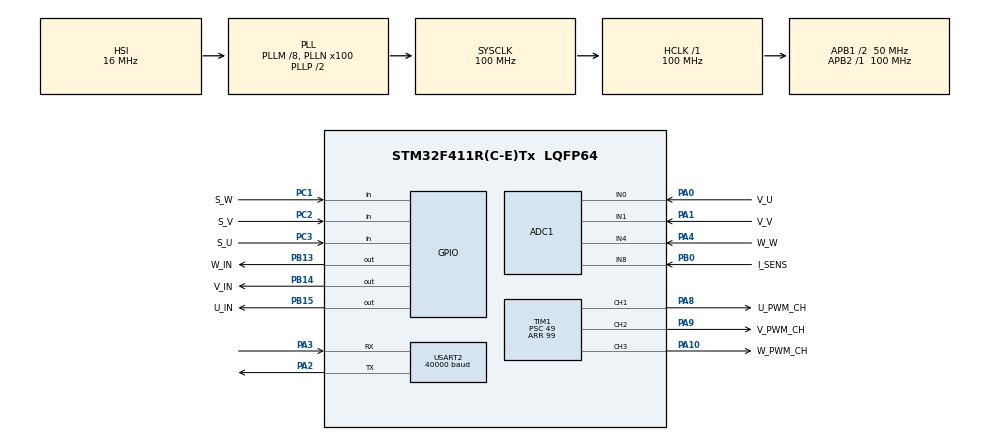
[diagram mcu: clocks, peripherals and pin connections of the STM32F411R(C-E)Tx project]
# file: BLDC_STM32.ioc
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ADC1.Channel-0\#ChannelRegularConversion=ADC_CHANNEL_4
ADC1.Channel-1\#ChannelRegularConversion=ADC_CHANNEL_1
ADC1.Channel-2\#ChannelRegularConversion=ADC_CHANNEL_0
ADC1.Channel-3\#ChannelRegularConversion=ADC_CHANNEL_8
ADC1.ContinuousConvMode=ENABLE
ADC1.DMAContinuousRequests=ENABLE
ADC1.EOCSelection=ADC_EOC_SEQ_CONV
ADC1.NbrOfConversion=4
ADC1.NbrOfConversionFlag=1
ADC1.Rank-0\#ChannelRegularConversion=1
ADC1.Rank-1\#ChannelRegularConversion=2
ADC1.Rank-2\#ChannelRegularConversion=3
ADC1.Rank-3\#ChannelRegularConversion=4
ADC1.SamplingTime-0\#ChannelRegularConversion=ADC_SAMPLETIME_112CYCLES
ADC1.SamplingTime-1\#ChannelRegularConversion=ADC_SAMPLETIME_112CYCLES
ADC1.SamplingTime-2\#ChannelRegularConversion=ADC_SAMPLETIME_112CYCLES
ADC1.SamplingTime-3\#ChannelRegularConversion=ADC_SAMPLETIME_112CYCLES
ADC1.master=1
Dma.ADC1.1.Direction=DMA_PERIPH_TO_MEMORY
Dma.ADC1.1.FIFOMode=DMA_FIFOMODE_DISABLE
Dma.ADC1.1.Instance=DMA2_Stream0
Dma.ADC1.1.MemDataAlignment=DMA_MDATAALIGN_HALFWORD
Dma.ADC1.1.MemInc=DMA_MINC_ENABLE
Dma.ADC1.1.Mode=DMA_CIRCULAR
Dma.ADC1.1.PeriphDataAlignment=DMA_PDATAALIGN_HALFWORD
Dma.ADC1.1.PeriphInc=DMA_PINC_DISABLE
Dma.ADC1.1.Priority=DMA_PRIORITY_LOW
Dma.Request0=USART2_TX
Dma.Request1=ADC1
Dma.USART2_TX.0.Direction=DMA_MEMORY_TO_PERIPH
Dma.USART2_TX.0.FIFOMode=DMA_FIFOMODE_DISABLE
Dma.USART2_TX.0.Instance=DMA1_Stream6
Dma.USART2_TX.0.MemDataAlignment=DMA_MDATAALIGN_BYTE
Dma.USART2_TX.0.MemInc=DMA_MINC_ENABLE
Dma.USART2_TX.0.Mode=DMA_CIRCULAR
Dma.USART2_TX.0.PeriphDataAlignment=DMA_PDATAALIGN_BYTE
Dma.USART2_TX.0.PeriphInc=DMA_PINC_DISABLE
Dma.USART2_TX.0.Priority=DMA_PRIORITY_LOW
Mcu.Family=STM32F4
Mcu.Name=STM32F411R(C-E)Tx
Mcu.Package=LQFP64
NVIC.DMA1_Stream6_IRQn=true\:0\:0\:false\:false\:true\:false\:true\:true
NVIC.DMA2_Stream0_IRQn=true\:1\:0\:true\:false\:true\:false\:true\:true
NVIC.PriorityGroup=NVIC_PRIORITYGROUP_4
NVIC.TIM3_IRQn=true\:0\:0\:false\:false\:true\:true\:true\:true
PA0-WKUP.GPIO_Label=V_U
PA0-WKUP.Signal=ADCx_IN0
PA1.GPIO_Label=V_V
PA1.Signal=ADCx_IN1
PA10.GPIO_Label=W_PWM_CH
PA10.Signal=S_TIM1_CH3
PA13.Mode=JTAG_4_pins
PA13.Signal=SYS_JTMS-SWDIO
PA14.Mode=JTAG_4_pins
PA14.Signal=SYS_JTCK-SWCLK
PA15.Mode=JTAG_4_pins
PA15.Signal=SYS_JTDI
PA2.Mode=Asynchronous
PA2.Signal=USART2_TX
PA3.Mode=Asynchronous
PA3.Signal=USART2_RX
PA4.GPIO_Label=W_W
PA4.Signal=ADCx_IN4
PA8.GPIO_Label=U_PWM_CH
PA8.Signal=S_TIM1_CH1
PA9.GPIO_Label=V_PWM_CH
PA9.Signal=S_TIM1_CH2
PB0.GPIO_Label=I_SENS
PB0.Signal=ADCx_IN8
PB13.GPIO_Label=W_IN
PB13.Signal=GPIO_Output
PB14.GPIO_Label=V_IN
PB14.Signal=GPIO_Output
PB15.GPIO_Label=U_IN
PB15.Signal=GPIO_Output
PB3.Mode=JTAG_4_pins
PB3.Signal=SYS_JTDO-SWO
PC1.GPIO_Label=S_W
PC1.Signal=GPIO_Input
PC2.GPIO_Label=S_V
PC2.Signal=GPIO_Input
PC3.GPIO_Label=S_U
PC3.Signal=GPIO_Input
ProjectManager.HeapSize=0x200
ProjectManager.StackSize=0x400
ProjectManager.TargetToolchain=Makefile
RCC.48MHZClocksFreq_Value=50000000
RCC.AHBFreq_Value=100000000
RCC.APB1CLKDivider=RCC_HCLK_DIV2
RCC.APB1Freq_Value=50000000
RCC.APB1TimFreq_Value=100000000
RCC.APB2Freq_Value=100000000
RCC.APB2TimFreq_Value=100000000
RCC.CortexFreq_Value=100000000
RCC.HCLKFreq_Value=100000000
RCC.HSE_VALUE=25000000
RCC.HSI_VALUE=16000000
RCC.LSE_VALUE=32768
RCC.PLLM=8
RCC.PLLN=100
RCC.SYSCLKFreq_VALUE=100000000
RCC.SYSCLKSource=RCC_SYSCLKSOURCE_PLLCLK
RCC.VCOOutputFreq_Value=200000000
SH.ADCx_IN0.0=ADC1_IN0,IN0
SH.ADCx_IN1.0=ADC1_IN1,IN1
SH.ADCx_IN4.0=ADC1_IN4,IN4
SH.ADCx_IN8.0=ADC1_IN8,IN8
SH.S_TIM1_CH1.0=TIM1_CH1,PWM Generation1 CH1
SH.S_TIM1_CH2.0=TIM1_CH2,PWM Generation2 CH2
SH.S_TIM1_CH3.0=TIM1_CH3,PWM Generation3 CH3
TIM1.Channel-PWM\ Generation1\ CH1=TIM_CHANNEL_1
TIM1.Channel-PWM\ Generation2\ CH2=TIM_CHANNEL_2
TIM1.Channel-PWM\ Generation3\ CH3=TIM_CHANNEL_3
TIM1.CounterMode=TIM_COUNTERMODE_CENTERALIGNED1
TIM1.OCMode_PWM-PWM\ Generation1\ CH1=TIM_OCMODE_PWM1
TIM1.OCMode_PWM-PWM\ Generation2\ CH2=TIM_OCMODE_PWM1
TIM1.OCMode_PWM-PWM\ Generation3\ CH3=TIM_OCMODE_PWM1
TIM1.Period=99
TIM1.Prescaler=49
TIM1.Pulse-PWM\ Generation2\ CH2=0
TIM1.Pulse-PWM\ Generation3\ CH3=0
TIM1.RepetitionCounter=1
TIM3.Period=99
TIM3.Prescaler=99
USART2.BaudRate=40000
USART2.Mode=MODE_TX_RX
USART2.VirtualMode=VM_ASYNC
VP_TIM3_VS_ClockSourceINT.Mode=Internal
board=custom

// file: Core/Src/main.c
/* USER CODE BEGIN Header */
/**
  ******************************************************************************
  * @file           : main.c
  * @brief          : Main program body
  ******************************************************************************
  * @attention
  *
  * Copyright (c) 2024 STMicroelectronics.
  * All rights reserved.
  *
  * This software is licensed under terms that can be found in the LICENSE file
  * in the root directory of this software component.
  * If no LICENSE file comes with this software, it is provided AS-IS.
  *
  ******************************************************************************
  */
/* USER CODE END Header */
#include "main.h"

ADC_HandleTypeDef hadc1;
DMA_HandleTypeDef hdma_adc1;

TIM_HandleTypeDef htim1;
TIM_HandleTypeDef htim3;

UART_HandleTypeDef huart2;
DMA_HandleTypeDef hdma_usart2_tx;

/* USER CODE BEGIN PV */
char str[100];
/* USER CODE END PV */

void SystemClock_Config(void);
static void MX_GPIO_Init(void);
static void MX_DMA_Init(void);
static void MX_TIM1_Init(void);
static void MX_USART2_UART_Init(void);
static void MX_ADC1_Init(void);
static void MX_TIM3_Init(void);

/* USER CODE BEGIN 0 */
#define DWT_CONTROL *(volatile unsigned long *)0xE0001000
#define SCB_DEMCR   *(volatile unsigned long *)0xE000EDFC

void DWT_Init(void)
{
    SCB_DEMCR |= CoreDebug_DEMCR_TRCENA_Msk; // разрешаем использовать счётчик
    DWT_CONTROL |= DWT_CTRL_CYCCNTENA_Msk;   // запускаем счётчик
}

/* USER CODE END 0 */

int main(void)
{

  /* MCU Configuration--------------------------------------------------------*/

  /* Reset of all peripherals, Initializes the Flash interface and the Systick. */
  HAL_Init();

  /* Configure the system clock */
  SystemClock_Config();

  /* Initialize all configured peripherals */
  MX_GPIO_Init();
  MX_DMA_Init();
  MX_TIM1_Init();
  MX_USART2_UART_Init();
  MX_ADC1_Init();
  MX_TIM3_Init();
  /* USER CODE BEGIN 2 */
  DWT_Init();
  RetargetInit(&huart2);
  bldc_init();

  HAL_TIM_PWM_Start_IT(&htim1, TIM_CHANNEL_1);
  HAL_TIM_PWM_Start_IT(&htim1, TIM_CHANNEL_2);
  HAL_TIM_PWM_Start_IT(&htim1, TIM_CHANNEL_3);

  // initial start of bldc on low speed
  //bldc_blind_start();
  HAL_TIM_Base_Start_IT(&htim3);
  // enable update interrupts to detect point of changing bldc commutation step
  //sprintf(str, "Count: %d, PWM: %d\r\n", __HAL_TIM_GET_COUNTER(&htim1), HAL_GPIO_ReadPin(GPIOA, GPIO_PIN_8));
  // make UEV occurs only on over

  //__HAL_TIM_ENABLE_IT(&htim1, TIM_IT_UPDATE);

  /* USER CODE END 2 */

  /* Infinite loop */
  /* USER CODE BEGIN WHILE */
  while (1)
  {
    //parse_adc_data();
    //HAL_Delay(10);
    /* USER CODE END WHILE */

  }
}

void SystemClock_Config(void)
{
  RCC_OscInitTypeDef RCC_OscInitStruct = {0};
  RCC_ClkInitTypeDef RCC_ClkInitStruct = {0};

  /** Configure the main internal regulator output voltage
  */
  __HAL_RCC_PWR_CLK_ENABLE();
  __HAL_PWR_VOLTAGESCALING_CONFIG(PWR_REGULATOR_VOLTAGE_SCALE1);

  /** Initializes the RCC Oscillators according to the specified parameters
  * in the RCC_OscInitTypeDef structure.
  */
  RCC_OscInitStruct.OscillatorType = RCC_OSCILLATORTYPE_HSI;
  RCC_OscInitStruct.HSIState = RCC_HSI_ON;
  RCC_OscInitStruct.HSICalibrationValue = RCC_HSICALIBRATION_DEFAULT;
  RCC_OscInitStruct.PLL.PLLState = RCC_PLL_ON;
  RCC_OscInitStruct.PLL.PLLSource = RCC_PLLSOURCE_HSI;
  RCC_OscInitStruct.PLL.PLLM = 8;
  RCC_OscInitStruct.PLL.PLLN = 100;
  RCC_OscInitStruct.PLL.PLLP = RCC_PLLP_DIV2;
  RCC_OscInitStruct.PLL.PLLQ = 4;
  if (HAL_RCC_OscConfig(&RCC_OscInitStruct) != HAL_OK)
  {
    Error_Handler();
  }

  /** Initializes the CPU, AHB and APB buses clocks
  */
  RCC_ClkInitStruct.ClockType = RCC_CLOCKTYPE_HCLK|RCC_CLOCKTYPE_SYSCLK
                              |RCC_CLOCKTYPE_PCLK1|RCC_CLOCKTYPE_PCLK2;
  RCC_ClkInitStruct.SYSCLKSource = RCC_SYSCLKSOURCE_PLLCLK;
  RCC_ClkInitStruct.AHBCLKDivider = RCC_SYSCLK_DIV1;
  RCC_ClkInitStruct.APB1CLKDivider = RCC_HCLK_DIV2;
  RCC_ClkInitStruct.APB2CLKDivider = RCC_HCLK_DIV1;

  if (HAL_RCC_ClockConfig(&RCC_ClkInitStruct, FLASH_LATENCY_3) != HAL_OK)
  {
    Error_Handler();
  }
}

static void MX_ADC1_Init(void)
{

  ADC_ChannelConfTypeDef sConfig = {0};

  /** Configure the global features of the ADC (Clock, Resolution, Data Alignment and number of conversion)
  */
  hadc1.Instance = ADC1;
  hadc1.Init.ClockPrescaler = ADC_CLOCK_SYNC_PCLK_DIV4;
  hadc1.Init.Resolution = ADC_RESOLUTION_12B;
  hadc1.Init.ScanConvMode = ENABLE;
  hadc1.Init.ContinuousConvMode = ENABLE;
  hadc1.Init.DiscontinuousConvMode = DISABLE;
  hadc1.Init.ExternalTrigConvEdge = ADC_EXTERNALTRIGCONVEDGE_NONE;
  hadc1.Init.ExternalTrigConv = ADC_SOFTWARE_START;
  hadc1.Init.DataAlign = ADC_DATAALIGN_RIGHT;
  hadc1.Init.NbrOfConversion = 4;
  hadc1.Init.DMAContinuousRequests = ENABLE;
  hadc1.Init.EOCSelection = ADC_EOC_SEQ_CONV;
  if (HAL_ADC_Init(&hadc1) != HAL_OK)
  {
    Error_Handler();
  }

  /** Configure for the selected ADC regular channel its corresponding rank in the sequencer and its sample time.
  */
  sConfig.Channel = ADC_CHANNEL_4;
  sConfig.Rank = 1;
  sConfig.SamplingTime = ADC_SAMPLETIME_112CYCLES;
  if (HAL_ADC_ConfigChannel(&hadc1, &sConfig) != HAL_OK)
  {
    Error_Handler();
  }

  /** Configure for the selected ADC regular channel its corresponding rank in the sequencer and its sample time.
  */
  sConfig.Channel = ADC_CHANNEL_1;
  sConfig.Rank = 2;
  if (HAL_ADC_ConfigChannel(&hadc1, &sConfig) != HAL_OK)
  {
    Error_Handler();
  }

  /** Configure for the selected ADC regular channel its corresponding rank in the sequencer and its sample time.
  */
  sConfig.Channel = ADC_CHANNEL_0;
  sConfig.Rank = 3;
  if (HAL_ADC_ConfigChannel(&hadc1, &sConfig) != HAL_OK)
  {
    Error_Handler();
  }

  /** Configure for the selected ADC regular channel its corresponding rank in the sequencer and its sample time.
  */
  sConfig.Channel = ADC_CHANNEL_8;
  sConfig.Rank = 4;
  if (HAL_ADC_ConfigChannel(&hadc1, &sConfig) != HAL_OK)
  {
    Error_Handler();
  }

}

static void MX_TIM1_Init(void)
{

  TIM_MasterConfigTypeDef sMasterConfig = {0};
  TIM_OC_InitTypeDef sConfigOC = {0};
  TIM_BreakDeadTimeConfigTypeDef sBreakDeadTimeConfig = {0};

  htim1.Instance = TIM1;
  htim1.Init.Prescaler = 49;
  htim1.Init.CounterMode = TIM_COUNTERMODE_CENTERALIGNED1;
  htim1.Init.Period = 99;
  htim1.Init.ClockDivision = TIM_CLOCKDIVISION_DIV1;
  htim1.Init.RepetitionCounter = 1;
  htim1.Init.AutoReloadPreload = TIM_AUTORELOAD_PRELOAD_DISABLE;
  if (HAL_TIM_PWM_Init(&htim1) != HAL_OK)
  {
    Error_Handler();
  }
  sMasterConfig.MasterOutputTrigger = TIM_TRGO_RESET;
  sMasterConfig.MasterSlaveMode = TIM_MASTERSLAVEMODE_DISABLE;
  if (HAL_TIMEx_MasterConfigSynchronization(&htim1, &sMasterConfig) != HAL_OK)
  {
    Error_Handler();
  }
  sConfigOC.OCMode = TIM_OCMODE_PWM1;
  sConfigOC.Pulse = 0;
  sConfigOC.OCPolarity = TIM_OCPOLARITY_HIGH;
  sConfigOC.OCNPolarity = TIM_OCNPOLARITY_HIGH;
  sConfigOC.OCFastMode = TIM_OCFAST_DISABLE;
  sConfigOC.OCIdleState = TIM_OCIDLESTATE_RESET;
  sConfigOC.OCNIdleState = TIM_OCNIDLESTATE_RESET;
  if (HAL_TIM_PWM_ConfigChannel(&htim1, &sConfigOC, TIM_CHANNEL_1) != HAL_OK)
  {
    Error_Handler();
  }
  if (HAL_TIM_PWM_ConfigChannel(&htim1, &sConfigOC, TIM_CHANNEL_2) != HAL_OK)
  {
    Error_Handler();
  }
  if (HAL_TIM_PWM_ConfigChannel(&htim1, &sConfigOC, TIM_CHANNEL_3) != HAL_OK)
  {
    Error_Handler();
  }
  sBreakDeadTimeConfig.OffStateRunMode = TIM_OSSR_DISABLE;
  sBreakDeadTimeConfig.OffStateIDLEMode = TIM_OSSI_DISABLE;
  sBreakDeadTimeConfig.LockLevel = TIM_LOCKLEVEL_OFF;
  sBreakDeadTimeConfig.DeadTime = 0;
  sBreakDeadTimeConfig.BreakState = TIM_BREAK_DISABLE;
  sBreakDeadTimeConfig.BreakPolarity = TIM_BREAKPOLARITY_HIGH;
  sBreakDeadTimeConfig.AutomaticOutput = TIM_AUTOMATICOUTPUT_DISABLE;
  if (HAL_TIMEx_ConfigBreakDeadTime(&htim1, &sBreakDeadTimeConfig) != HAL_OK)
  {
    Error_Handler();
  }
  HAL_TIM_MspPostInit(&htim1);

}

static void MX_TIM3_Init(void)
{

  TIM_ClockConfigTypeDef sClockSourceConfig = {0};
  TIM_MasterConfigTypeDef sMasterConfig = {0};

  htim3.Instance = TIM3;
  htim3.Init.Prescaler = 99;
  htim3.Init.CounterMode = TIM_COUNTERMODE_UP;
  htim3.Init.Period = 99;
  htim3.Init.ClockDivision = TIM_CLOCKDIVISION_DIV1;
  htim3.Init.AutoReloadPreload = TIM_AUTORELOAD_PRELOAD_DISABLE;
  if (HAL_TIM_Base_Init(&htim3) != HAL_OK)
  {
    Error_Handler();
  }
  sClockSourceConfig.ClockSource = TIM_CLOCKSOURCE_INTERNAL;
  if (HAL_TIM_ConfigClockSource(&htim3, &sClockSourceConfig) != HAL_OK)
  {
    Error_Handler();
  }
  sMasterConfig.MasterOutputTrigger = TIM_TRGO_RESET;
  sMasterConfig.MasterSlaveMode = TIM_MASTERSLAVEMODE_DISABLE;
  if (HAL_TIMEx_MasterConfigSynchronization(&htim3, &sMasterConfig) != HAL_OK)
  {
    Error_Handler();
  }

}

static void MX_USART2_UART_Init(void)
{

  huart2.Instance = USART2;
  huart2.Init.BaudRate = 40000;
  huart2.Init.WordLength = UART_WORDLENGTH_8B;
  huart2.Init.StopBits = UART_STOPBITS_1;
  huart2.Init.Parity = UART_PARITY_NONE;
  huart2.Init.Mode = UART_MODE_TX_RX;
  huart2.Init.HwFlowCtl = UART_HWCONTROL_NONE;
  huart2.Init.OverSampling = UART_OVERSAMPLING_16;
  if (HAL_UART_Init(&huart2) != HAL_OK)
  {
    Error_Handler();
  }

}

static void MX_DMA_Init(void)
{

  /* DMA controller clock enable */
  __HAL_RCC_DMA1_CLK_ENABLE();
  __HAL_RCC_DMA2_CLK_ENABLE();

  /* DMA interrupt init */
  /* DMA1_Stream6_IRQn interrupt configuration */
  HAL_NVIC_SetPriority(DMA1_Stream6_IRQn, 0, 0);
  HAL_NVIC_EnableIRQ(DMA1_Stream6_IRQn);
  /* DMA2_Stream0_IRQn interrupt configuration */
  HAL_NVIC_SetPriority(DMA2_Stream0_IRQn, 1, 0);
  HAL_NVIC_EnableIRQ(DMA2_Stream0_IRQn);

}

static void MX_GPIO_Init(void)
{
  GPIO_InitTypeDef GPIO_InitStruct = {0};

  /* GPIO Ports Clock Enable */
  __HAL_RCC_GPIOC_CLK_ENABLE();
  __HAL_RCC_GPIOA_CLK_ENABLE();
  __HAL_RCC_GPIOB_CLK_ENABLE();

  /*Configure GPIO pin Output Level */
  HAL_GPIO_WritePin(GPIOB, W_IN_Pin|V_IN_Pin|U_IN_Pin, GPIO_PIN_RESET);

  /*Configure GPIO pins : S_W_Pin S_V_Pin S_U_Pin */
  GPIO_InitStruct.Pin = S_W_Pin|S_V_Pin|S_U_Pin;
  GPIO_InitStruct.Mode = GPIO_MODE_INPUT;
  GPIO_InitStruct.Pull = GPIO_NOPULL;
  HAL_GPIO_Init(GPIOC, &GPIO_InitStruct);

  /*Configure GPIO pins : W_IN_Pin V_IN_Pin U_IN_Pin */
  GPIO_InitStruct.Pin = W_IN_Pin|V_IN_Pin|U_IN_Pin;
  GPIO_InitStruct.Mode = GPIO_MODE_OUTPUT_PP;
  GPIO_InitStruct.Pull = GPIO_NOPULL;
  GPIO_InitStruct.Speed = GPIO_SPEED_FREQ_LOW;
  HAL_GPIO_Init(GPIOB, &GPIO_InitStruct);

}

/* USER CODE BEGIN 4 */
uint32_t DWT_Delay_Init(void)
{
    /* Disable TRC */
    CoreDebug->DEMCR &= ~CoreDebug_DEMCR_TRCENA_Msk; // ~0x01000000;
    /* Enable TRC */
    CoreDebug->DEMCR |=  CoreDebug_DEMCR_TRCENA_Msk; // 0x01000000;

    /* Disable clock cycle counter */
    DWT->CTRL &= ~DWT_CTRL_CYCCNTENA_Msk; //~0x00000001;
    /* Enable  clock cycle counter */
    DWT->CTRL |=  DWT_CTRL_CYCCNTENA_Msk; //0x00000001;

    /* Reset the clock cycle counter value */
    DWT->CYCCNT = 0;

    /* 3 NO OPERATION instructions */
    __ASM volatile ("NOP");
    __ASM volatile ("NOP");
    __ASM volatile ("NOP");

    /* Check if clock cycle counter has started */
    if(DWT->CYCCNT)
    {
       return 0; /*clock cycle counter started*/
    }
    else
    {
      return 1; /*clock cycle counter not started*/
    }
}

void HAL_TIM_PeriodElapsedCallback(TIM_HandleTypeDef *htim) {
  if (htim->Instance == TIM3) {
    bldc_dtc_step();
    //pwm_tim_middle_period_callback();

    //sprintf(str, "Count: %d, PWM: %d\r\n", htim->Instance->CNT, HAL_GPIO_ReadPin(GPIOA, GPIO_PIN_8));
    //HAL_UART_Transmit_DMA(&huart2, str, strlen(str));;
  }
}

void DWT_Delay_us(volatile uint32_t au32_microseconds) {
  uint32_t au32_initial_ticks = DWT->CYCCNT;
  uint32_t au32_ticks = (HAL_RCC_GetHCLKFreq() / 1000000);
  au32_microseconds *= au32_ticks;
  while ((DWT->CYCCNT - au32_initial_ticks) < au32_microseconds - au32_ticks)
    ;
}
/* USER CODE END 4 */

void Error_Handler(void)
{
  __disable_irq();
  while (1)
  {
  }
}
